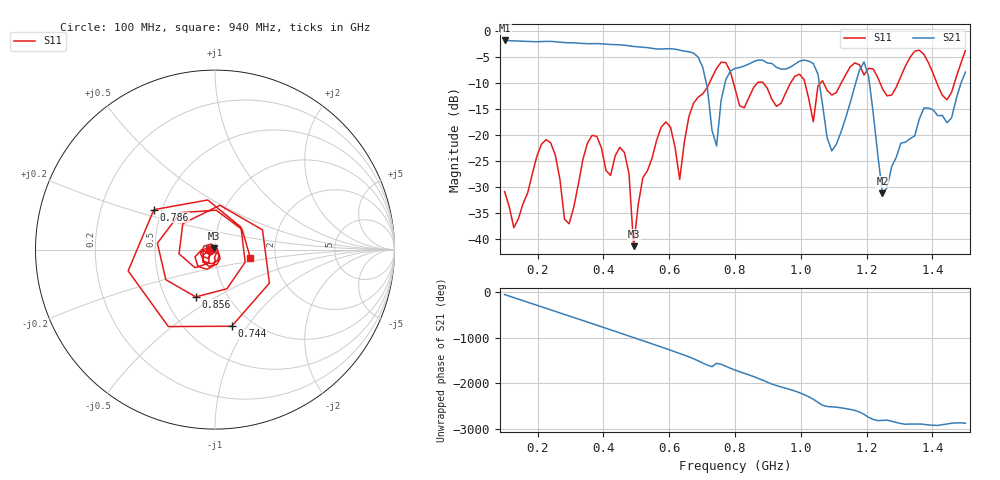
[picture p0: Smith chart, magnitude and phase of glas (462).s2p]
! NanoVNA-App
! Date: 2025-09-25 15:59:04
! Start: 100MHz Stop: 1,5GHz Points: 101
! S-Parameter data: F S11 S21 S12 S22
# Hz S RI R 50
!  Frequency  S11_Real  S11_Imag  S21_Real  S21_Imag  S12_Real  S12_Imag  S22_Real  S22_Imag
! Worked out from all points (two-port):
!   101 points, 100 MHz to 1.5 GHz, reference 50 ohm
!   highest |S21| = -1.80 dB at 100 MHz (marker M1); lowest = -31.2 dB at 1.248 GHz (marker M2)
!   |S21| within 3 dB of the highest: start of sweep to 684.3 MHz
!   lowest |S11| = -41.5 dB at 492 MHz (marker M3), VSWR 1.02, Z = 49.5 + j0.65 ohm
!   |S11| at or under -10 dB: start of sweep to 722.4 MHz; 795.4 MHz to 868.1 MHz (72.77 MHz wide, 8.75 % of centre); 886.2 MHz to 968.8 MHz (82.61 MHz wide, 8.91 % of centre) (the widest 3 of 7)
!   S12 and S22 are empty: the file has one direction only
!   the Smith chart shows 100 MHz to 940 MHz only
!   S11 on the Smith chart (normalised r, x): 100 MHz: 0.95, -0.01; 744 MHz: 0.81, -0.85; 786 MHz: 0.45, +0.24; 856 MHz: 0.71, -0.41; 940 MHz: 1.48, -0.14
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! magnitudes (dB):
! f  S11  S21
! 100 MHz  -30.9  -1.8
! 128 MHz  -37.9  -1.9
! 226 MHz  -20.9  -2.0
! 296 MHz  -37.2  -2.2
! 338 MHz  -24.7  -2.4
! 464 MHz  -23.4  -2.7
! 492 MHz  -41.5  -3.0
! 576 MHz  -18.5  -3.5
! 632 MHz  -28.6  -3.7
! 702 MHz  -12.1  -7.0
! 744 MHz  -7.2  -22.1
! 786 MHz  -7.8  -7.7
! 800 MHz  -11.1  -7.2
! 856 MHz  -10.9  -5.9
! 940 MHz  -13.9  -7.3
! 996 MHz  -8.3  -5.8
! 1.038 GHz  -17.5  -6.3
! 1.094 GHz  -12.3  -23.1
! 1.192 GHz  -8.4  -5.9
! 1.248 GHz  -11.1  -31.2
! 1.276 GHz  -12.3  -26.2
! 1.5 GHz  -3.8  -7.9
